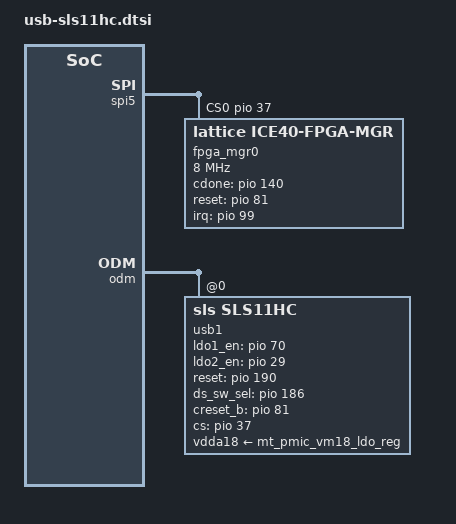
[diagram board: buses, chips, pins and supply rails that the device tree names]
// SPDX-License-Identifier: GPL-2.0-only
/*
 * Copyright (c) 2018-2019, The Linux Foundation. All rights reserved.
 */

&spi5 {
	cs-gpios = <&pio 37 0>;
	#address-cells = <1>;
	#size-cells = <0>;

	fpga_mgr0: lattice@0 {
		compatible = "lattice,ice40-fpga-mgr";
		status = "okay";
		reg = <0>;
		interrupt-parent = <&pio>;
		interrupts = <99 IRQ_TYPE_LEVEL_HIGH 99 0>;		/* check */

		spi-max-frequency = <8000000>;

		cdone-gpio = <&pio 140 0>;
		reset-gpio = <&pio 81 0>;

		pinctrl-names = "default";
		pinctrl-0 = <&lattice0_cs_active
				&lattice0_int_active
				&lattice0_reset_active
				&lattice0_cdone_active>;
	};
};

&odm {
	/* Secondary USB port related controller */
	usb1: sls11hc@0 {
		compatible = "sls,sls11hc";

		vdda18-supply = <&mt_pmic_vm18_ldo_reg>;

		ldo1_en-gpio = <&pio 70 0>;		/* 1.2V VDD Switch */
		ldo2_en-gpio = <&pio 29 0>;		/* 3.3V VDD Switch */

		reset-gpio = <&pio 190 0>;

		ds_sw_sel-gpio = <&pio 186 0>;
		creset_b-gpio = <&pio 81 0>;
		cs-gpio = <&pio 37 0>;

		pinctrl-names = "default";
		pinctrl-0 = <&sls11hc0_ldo_en_active
				&sls11hc0_reset_active
				&sls11hc0_ds_sw_sel_active>;

		fpga-mgr = <&fpga_mgr0>;
		firmware-name = "lattice/u11hc_spi_lge_des_impl_1_19M.bin";

		extcon = <&lge_usb_ds3>, <&extcon_usb>;
	};
};


&pio {
	lattice0_pins: lattice0_pins {
		lattice0_cs_active: lattice0_cs_active {
			pins_cmd_dat {
				pinmux = <PINMUX_GPIO37__FUNC_GPIO37>;
				output-low;
			};
		};

		lattice0_int_active: lattice0_int_active {
			pins_cmd_dat {
				pinmux = <PINMUX_GPIO99__FUNC_GPIO99>;
				slew-rate = <0>;
				bias-disable;
				input-enable;
			};
		};

		lattice0_reset_active: lattice0_reset_active {
			pins_cmd_dat {
				pinmux = <PINMUX_GPIO81__FUNC_GPIO81>;
				slew-rate = <1>;
				bias-disable;

			};
		};
		lattice0_cdone_active: lattice0_cdone_active {
			pins_cmd_dat {
				pinmux = <PINMUX_GPIO140__FUNC_GPIO140>;
				slew-rate = <0>;
				bias-disable;
				input-enable;
			};
		};
	};

	sls11hc0_pins: sls11hc0_pins {
		sls11hc0_ldo_en_active: sls11hc0_ldo_en_active {
			pins_cmd_dat_0 {
				pinmux = <PINMUX_GPIO70__FUNC_GPIO70>;
				slew-rate = <1>;
				bias-pull-down;
			};
			pins_cmd_dat_1 {
				pinmux = <PINMUX_GPIO29__FUNC_GPIO29>;
				slew-rate = <1>;
				bias-pull-down;
			};
		};

		sls11hc0_reset_active: sls11hc0_reset_active {
			pins_cmd_dat {
				pinmux = <PINMUX_GPIO190__FUNC_GPIO190>;
				slew-rate = <1>;
				bias-disable;
			};
		};

		sls11hc0_ds_sw_sel_active: sls11hc0_ds_sw_sel_active {
			pins_cmd_dat {
				pinmux = <PINMUX_GPIO186__FUNC_GPIO186>;
				slew-rate = <1>;
				bias-pull-down;
			};
		};
	};
};

